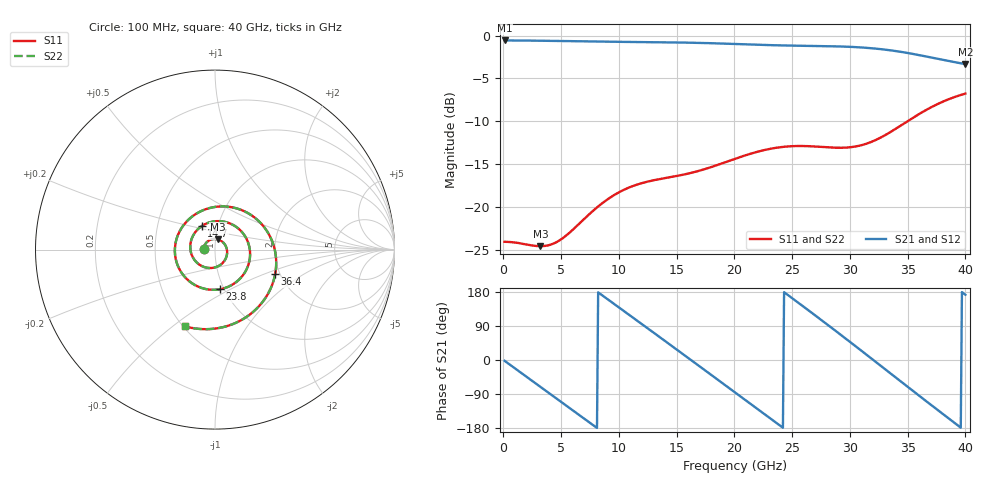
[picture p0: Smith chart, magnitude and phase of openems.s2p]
! A_s4_d200_ap800: L1→L4 through L2/L3, drill Ø0.2, antipad Ø0.8, 4 GND vias at 1 mm
! stackup: 4-layer 1.6 mm FR-4
! ports: 1, 2
! openEMS 0.37.0, staircase, fine mesh (dfine 0.0175 mm), 1048215 cells
# Hz S RI R 50
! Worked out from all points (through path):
!   400 points, 100 MHz to 40 GHz, reference 50 ohm
!   highest |S21| = -0.57 dB at 100 MHz (marker M1); lowest = -3.3 dB at 40 GHz (marker M2)
!   group delay of S21, straight-line fit = 62.9 ps
!   lowest |S11| = -24.6 dB at 3.2 GHz (marker M3), VSWR 1.13, Z = 51.4 + j5.85 ohm
!   |S11| at or under -10 dB: start of sweep to 34.97 GHz
!   |S22| runs from -24.6 to -6.8 dB; largest |S21 - S12| = 7.1e-07
!   S11 on the Smith chart (normalised r, x): 100 MHz: 0.88, +0.01; 14.7 GHz: 0.83, +0.22; 23.8 GHz: 0.95, -0.44; 36.4 GHz: 1.88, -0.59; 40 GHz: 0.51, -0.55
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1e8  -0.0627 0.00342  0.9361 -0.0363  0.9361 -0.0363  -0.0627 0.00342
1.5e9  -0.0413 0.0454  0.7825 -0.5136  0.7825 -0.5136  -0.0413 0.0454
3.2e9  0.0168 0.0567  0.3046 -0.8825  0.3046 -0.8825  0.0168 0.0567
4.9e9  0.0632 0.0118  -0.2963 -0.8816  -0.2963 -0.8816  0.0632 0.0118
6.8e9  0.0494 -0.0666  -0.8061 -0.455  -0.8061 -0.455  0.0494 -0.0666
9.5e9  -0.0698 -0.0934  -0.7955 0.4628  -0.7955 0.4628  -0.0698 -0.0934
1.15e10  -0.1338 -0.0161  -0.246 0.8839  -0.246 0.8839  -0.1338 -0.0161
1.34e10  -0.1208 0.0804  0.4104 0.8177  0.4104 0.8177  -0.1208 0.0804
1.47e10  -0.0749 0.1306  0.7533 0.5152  0.7533 0.5152  -0.0749 0.1306
1.72e10  0.0594 0.1536  0.8424 -0.3328  0.8424 -0.3328  0.0594 0.1536
2.01e10  0.1909 0.0172  0.0528 -0.8918  0.0528 -0.8918  0.1909 0.0172
2.18e10  0.1712 -0.119  -0.5047 -0.7272  -0.5047 -0.7272  0.1712 -0.119
2.38e10  0.0268 -0.2211  -0.8631 -0.1567  -0.8631 -0.1567  0.0268 -0.2211
2.67e10  -0.2023 -0.101  -0.4933 0.7176  -0.4933 0.7176  -0.2023 -0.101
2.87e10  -0.2073 0.0795  0.1748 0.8482  0.1748 0.8482  -0.2073 0.0795
3.07e10  -0.0883 0.2092  0.7293 0.4466  0.7293 0.4466  -0.0883 0.2092
3.2e10  0.029 0.2405  0.8425 0.0101  0.8425 0.0101  0.029 0.2405
3.34e10  0.1725 0.2092  0.6926 -0.4438  0.6926 -0.4438  0.1725 0.2092
3.49e10  0.304 0.0786  0.2928 -0.738  0.2928 -0.738  0.304 0.0786
3.64e10  0.335 -0.1371  -0.1817 -0.738  -0.1817 -0.738  0.335 -0.1371
3.83e10  0.1489 -0.3915  -0.6092 -0.3768  -0.6092 -0.3768  0.1489 -0.3915
4e10  -0.1661 -0.428  -0.6757 0.0931  -0.6757 0.0931  -0.1661 -0.428
